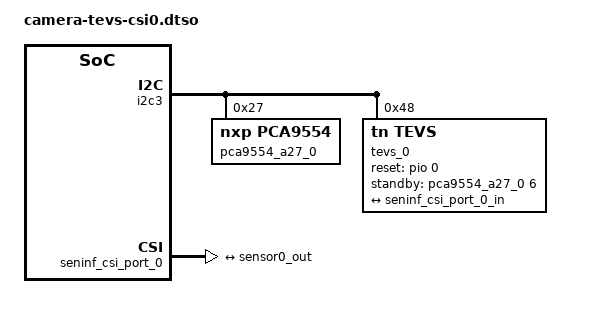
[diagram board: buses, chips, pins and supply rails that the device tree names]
// SPDX-License-Identifier: GPL-2.0
/*
 * Copyright (c) 2024 Ezurio LLC
 *
 */

#include <dt-bindings/gpio/gpio.h>
#include <dt-bindings/pinctrl/mediatek,mt8188-pinfunc.h>

/dts-v1/;
/plugin/;

/ {
	fragment@0 {
		target = <&pio>;
		__overlay__ {
			camera_pins_cam0_rst: cam0-rst {
				pins_cmd_dat {
					pinmux = <PINMUX_GPIO0__FUNC_B_GPIO0>;
					output-low;
				};
			};
		};
	};

	fragment@1 {
		target = <&i2c3>;
		__overlay__ {
			#address-cells = <1>;
			#size-cells = <0>;

			pca9554_a27_0: pca9554@27 {
				compatible = "nxp,pca9554";
				pinctrl-names = "default";
				reg = <0x27>;
				gpio-controller;
				#gpio-cells = <2>;
				status = "okay";
				gpio-line-names = "EXPOSURE_TRIG_IN0", "FLASH_OUT0",
						"CAM_SHUTTER0", "XVS0",	"CSI0_PDB",
						"CSI0_INT", "INFO_TRIG_IN0", "CSI0_RST_N";
			};

			tevs_0: camera@48 {
				compatible = "tn,tevs";
				reg = <0x48>;
				pinctrl-names = "default";
				pinctrl-0 = <&camera_pins_cam0_rst>;
				reset-gpios = <&pio 0 GPIO_ACTIVE_HIGH>;
				standby-gpios = <&pca9554_a27_0 6 GPIO_ACTIVE_HIGH>;
				data-lanes = <4>;
				data-frequency = <800>;
				continuous-clock = <0>;
				status = "okay";

				port {
					sensor0_out: endpoint {
						remote-endpoint = <&seninf_csi_port_0_in>;
					};
				};
			};
		};
	};

	fragment@2 {
		target = <&seninf_top>;
		__overlay__ {
			seninf_csi_port_0: seninf-csi-port-0 {
				compatible = "mediatek,seninf";
				csi-port = "0";
				hs_trail_parameter = <0x0>;

				port {
					seninf_csi_port_0_in: endpoint {
						remote-endpoint = <&sensor0_out>;
						data-lanes = <1 2 3 4>;
					};
				};
			};
		};
	};
};
